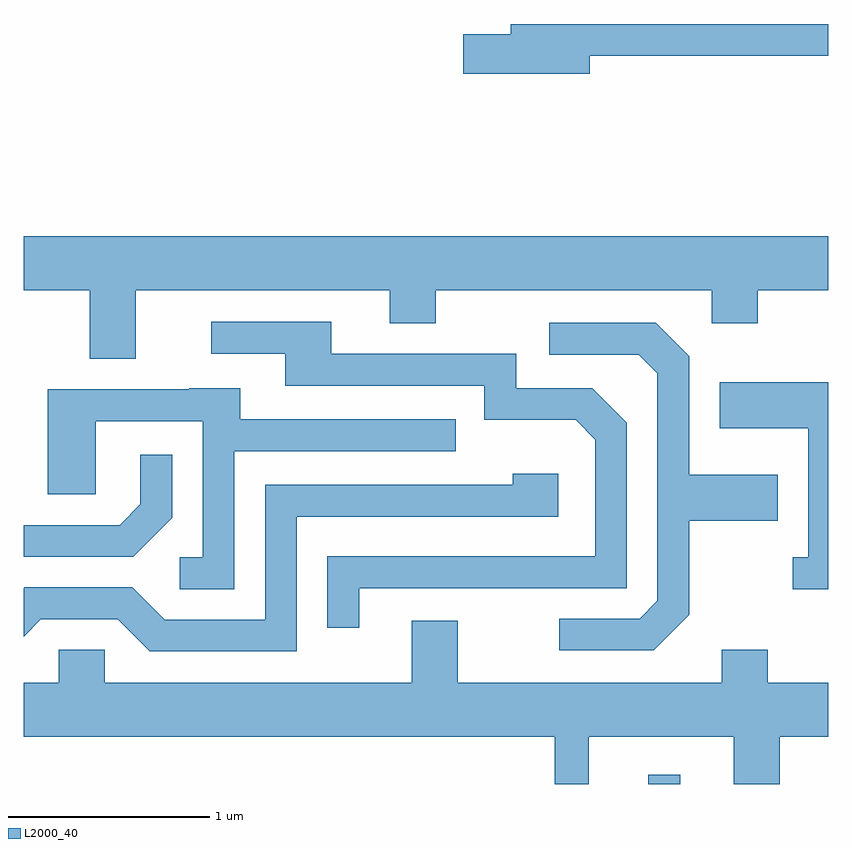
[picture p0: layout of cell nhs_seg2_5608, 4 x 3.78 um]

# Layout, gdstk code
import gdstk
lib = gdstk.Library(unit=1e-6, precision=1e-09)
def R(c, l, rs):  # rectangles x0, y0, x1, y1
    for r in rs: c.add(gdstk.rectangle(r[:2], r[2:], *l))
def P(c, l, *ps):  # polygons
    for p in ps: c.add(gdstk.Polygon(p, *l))
L2000_40 = (2000, 40)

nhs_seg2_5608 = lib.new_cell('nhs_seg2_5608')
R(nhs_seg2_5608, L2000_40, [(352.716,1105.802,352.874,1105.848)])
P(nhs_seg2_5608, L2000_40, [(352.424,1109.421),(353.611,1109.421),(353.611,1109.579),(352.031,1109.579),(352.031,1109.529),(351.796,1109.529),(351.796,1109.331),(352.424,1109.331)],
  [(350.169,1108.256),(351.431,1108.256),(351.431,1108.091),(351.659,1108.091),(351.659,1108.256),(353.031,1108.256),(353.031,1108.091),(353.259,1108.091),(353.259,1108.256),(353.611,1108.256),(353.611,1108.524),(349.611,1108.524),(349.611,1108.256),(349.941,1108.256),(349.941,1107.916),(350.169,1107.916)],
  [(351.279,1106.776),(352.609,1106.776),(352.609,1107.597),(352.437,1107.769),(352.059,1107.769),(352.059,1107.939),(351.139,1107.939),(351.139,1108.099),(350.543,1108.099),(350.543,1107.941),(350.911,1107.941),(350.911,1107.781),(351.901,1107.781),(351.901,1107.611),(352.354,1107.611),(352.451,1107.514),(352.451,1106.934),(351.121,1106.934),(351.121,1106.578),(351.279,1106.578)],
  [(352.919,1106.644),(352.919,1107.111),(353.359,1107.111),(353.359,1107.339),(352.919,1107.339),(352.919,1107.927),(352.752,1108.094),(352.223,1108.094),(352.223,1107.936),(352.669,1107.936),(352.761,1107.844),(352.761,1106.712),(352.674,1106.624),(352.273,1106.624),(352.273,1106.466),(352.742,1106.466)],
  [(353.611,1107.799),(353.071,1107.799),(353.071,1107.571),(353.511,1107.571),(353.511,1106.929),(353.433,1106.929),(353.433,1106.771),(353.611,1106.771)],
  [(350.659,1107.456),(351.758,1107.456),(351.758,1107.614),(350.689,1107.614),(350.689,1107.769),(350.435,1107.769),(350.435,1107.764),(349.731,1107.764),(349.731,1107.241),(349.969,1107.241),(349.969,1107.606),(350.501,1107.606),(350.501,1106.929),(350.388,1106.929),(350.388,1106.771),(350.659,1106.771)],
  [(350.349,1107.124),(350.349,1107.438),(350.191,1107.438),(350.191,1107.192),(350.089,1107.089),(349.611,1107.089),(349.611,1106.931),(350.157,1106.931)],
  [(350.969,1107.131),(352.269,1107.131),(352.269,1107.344),(352.041,1107.344),(352.041,1107.289),(350.811,1107.289),(350.811,1106.619),(350.312,1106.619),(350.152,1106.779),(349.614,1106.779),(349.611,1106.776),(349.611,1106.535),(349.697,1106.621),(350.079,1106.621),(350.239,1106.461),(350.969,1106.461)],
  [(352.419,1106.036),(353.141,1106.036),(353.141,1105.802),(353.369,1105.802),(353.369,1106.036),(353.611,1106.036),(353.611,1106.304),(353.309,1106.304),(353.309,1106.469),(353.081,1106.469),(353.081,1106.304),(351.769,1106.304),(351.769,1106.614),(351.541,1106.614),(351.541,1106.304),(350.014,1106.304),(350.014,1106.469),(349.786,1106.469),(349.786,1106.304),(349.611,1106.304),(349.611,1106.036),(352.251,1106.036),(352.251,1105.802),(352.419,1105.802)])

lib.write_gds('nhs_seg2_5608.gds')
